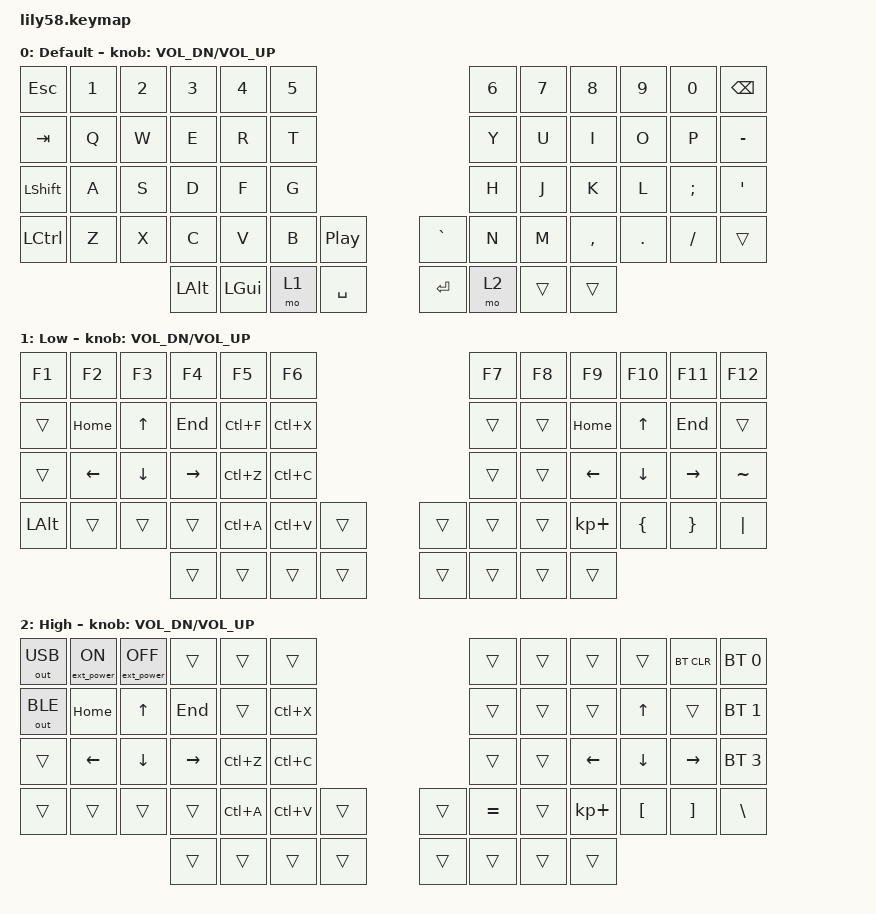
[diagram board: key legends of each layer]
/*
 * Copyright (c) 2020 The ZMK Contributors
 *
 * SPDX-License-Identifier: MIT
 */

#include <behaviors.dtsi>
#include <dt-bindings/zmk/keys.h>
#include <dt-bindings/zmk/bt.h>
#include <dt-bindings/zmk/ext_power.h>
#include <dt-bindings/zmk/outputs.h>


/ { 
//	sensors {
//		compatible = "zmk,keymap-sensors";
//		sensors = <&encoder_1>;
//	};
	
	keymap {
		compatible = "zmk,keymap";

		default_layer {
			sensor-bindings = <&inc_dec_kp C_VOL_DN C_VOL_UP>;
			label="Default";
// ------------------------------------------------------------------------------------------------------------
// |  ESC  |  1  |  2  |  3   |  4   |  5   |                   |  6   |  7    |  8    |  9   |   0   | BSPC  |
// |  TAB  |  Q  |  W  |  E   |  R   |  T   |                   |  Y   |  U    |  I    |  O   |   P   |   -   |
// | SHIFT |  A  |  S  |  D   |  F   |  G   |                   |  H   |  J    |  K    |  L   |   ;   |   '   |
// | CTRL  |  Z  |  X  |  C   |  V   |  B   |  PP    |  |  `    |  N   |  M    |  ,    |  .   |   /   |       |
//                     | ALT  | GUI  | LOWER|  SPACE |  | SPACE | RAISE|       |       |
			bindings = <
&kp ESC   &kp N1 &kp N2 &kp N3   &kp N4   &kp N5                                 &kp N6 &kp N7   &kp N8    &kp N9  &kp N0   &kp BSPC
&kp TAB   &kp Q  &kp W  &kp E    &kp R    &kp T                                  &kp Y  &kp U    &kp I     &kp O   &kp P    &kp MINUS
&kp LSHFT &kp A  &kp S  &kp D    &kp F    &kp G                                  &kp H  &kp J    &kp K     &kp L   &kp SEMI &kp SQT
&kp LCTRL &kp Z  &kp X  &kp C    &kp V    &kp B  &kp C_PLAY_PAUSE     &kp GRAVE  &kp N  &kp M    &kp COMMA &kp DOT &kp FSLH &trans
                        &kp LALT  &kp LGUI &mo 1  &kp SPACE            &kp RET    &mo 2  &trans   &trans
			>;
		};

		lower_layer {
			label="Low";
			sensor-bindings = <&inc_dec_kp C_VOL_DN C_VOL_UP>;
			
// ------------------------------------------------------------------------------------------------------------
// |  F1   |  F2 |  F3 |  F4  |  F5  |  F6  |                   |  F7  |  F8   |  F9   |  F10 |  F11  |  F12  |
// |       | HOME|  ^  | END  | FIND | CUT  |                   |      |       | HOME  |   ^  | END   |       |
// |       |  <  |  v  |   >  | UNDO | COPY |                   |      |       |   <   |   v  |   >   |   ~   |
// |  ALT  |     |     |      | ALL  | PASTE|        |  |       |      |       |  +    |  {   |   }   |  "|"  |
//                     |      |      |      |        |  |       |      |       |       |
// &ext_power EP_ON &ext_power EP_OFF &ext_power EP_TOG 
// &bt BT_CLR &bt BT_SEL 0     &bt BT_SEL 1      &bt BT_SEL 2      &bt BT_SEL 3 &bt BT_SEL 4 
					      
			bindings = <				      
&kp F1    &kp F2           &kp F3            &kp F4            &kp F5       &kp F6                       &kp F7    &kp F8    &kp F9      &kp F10   &kp F11   &kp F12
&trans    &kp HOME         &kp UP            &kp END           &kp LC(F)    &kp LC(X)                    &trans    &trans    &kp HOME    &kp UP    &kp END   &trans
&trans    &kp LEFT         &kp DOWN          &kp RIGHT         &kp LC(Z)    &kp LC(C)                    &trans    &trans    &kp LEFT    &kp DOWN  &kp RIGHT &kp TILDE
&kp LALT  &trans           &trans            &trans            &kp LC(A)    &kp LC(V) &trans   &trans    &trans    &trans    &kp KP_PLUS &kp LBRC  &kp RBRC  &kp PIPE
                                           &trans            &trans       &trans    &trans   &trans    &trans    &trans    &trans			      
			>;
		};

		raise_layer {
			label="High";
			sensor-bindings = <&inc_dec_kp C_VOL_DN C_VOL_UP>;
			
// ------------------------------------------------------------------------------------------------------------
// | USB   |EP_ON|EP_OF|      |      |      |                   |      |       |       |      | BTP CL| BTP 0 |
// | BT    | HOME|  ^  | END  |      | CUT  |                   |      |       | HOME  |  ^   | END   | BTP 1 |
// |       |  <  |  v  |  >   | UNDO | COPY |                   |      |       |   <   |  v   |   >   | BTP 3 |
// |       |     |     |      | ALL  | PASTE|        |  |       |  =   |       |   +   |  [   |   ]   |   \   |
//                     |      |      |      |        |  |       |      |       |       |
			bindings = <
&out OUT_USB    &ext_power EP_ON   &ext_power EP_OFF   &trans     &trans      &trans                            &trans      &trans    &trans      &trans   &bt BT_CLR &bt BT_SEL 0
&out OUT_BLE    &kp HOME           &kp UP              &kp END    &trans      &kp LC(X)                         &trans      &trans    &trans      &kp UP   &trans     &bt BT_SEL 1 
&trans          &kp LEFT           &kp DOWN            &kp RIGHT  &kp LC(Z)   &kp LC(C)                         &trans      &trans    &kp LEFT    &kp DOWN &kp RIGHT  &bt BT_SEL 3
&trans          &trans             &trans              &trans     &kp LC(A)   &kp LC(V)   &trans    &trans      &kp EQUAL   &trans    &kp KP_PLUS &kp LBKT &kp RBKT   &kp BSLH
                                                       &trans     &trans      &trans      &trans    &trans      &trans      &trans    &trans
			>;
		};
	};
};
